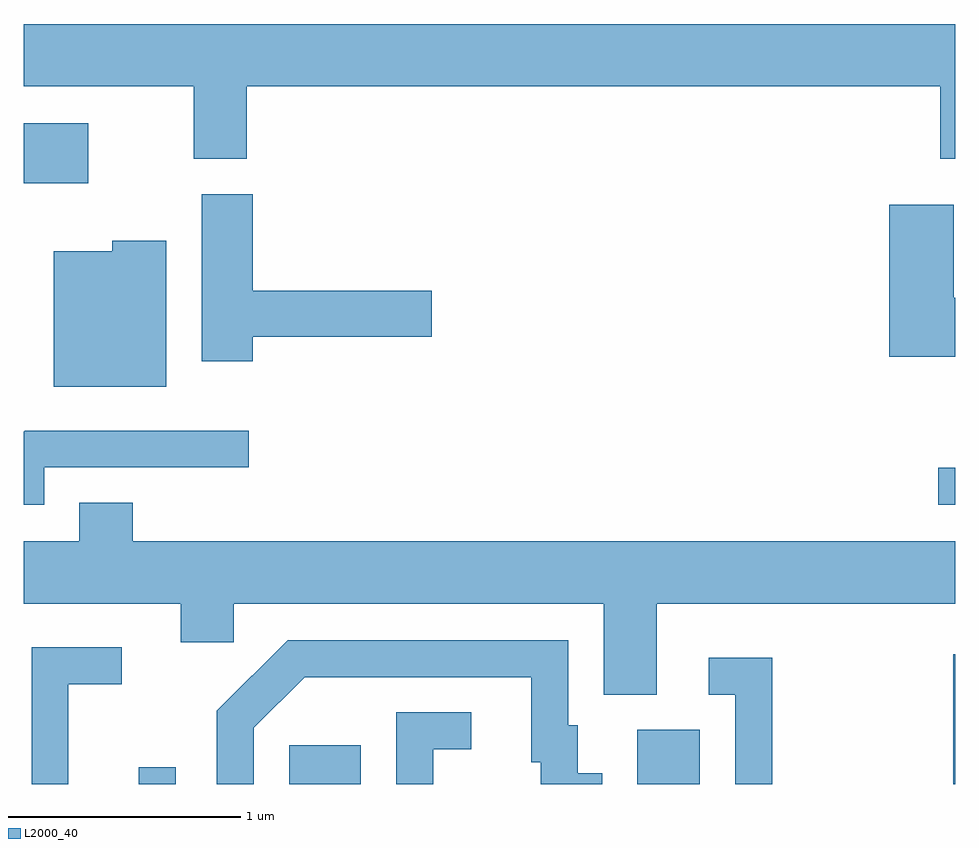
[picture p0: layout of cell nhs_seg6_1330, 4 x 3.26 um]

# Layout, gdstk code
import gdstk
lib = gdstk.Library(unit=1e-6, precision=1e-09)
def R(c, l, rs):  # rectangles x0, y0, x1, y1
    for r in rs: c.add(gdstk.rectangle(r[:2], r[2:], *l))
def P(c, l, *ps):  # polygons
    for p in ps: c.add(gdstk.Polygon(p, *l))
L2000_40 = (2000, 40)

nhs_seg6_1330 = lib.new_cell('nhs_seg6_1330')
R(nhs_seg6_1330, L2000_40, [(226.106,1538.162,226.264,1538.233), (226.751,1538.162,227.059,1538.329), (228.246,1538.162,228.514,1538.394), (229.601,1538.162,229.611,1538.718), (229.538,1539.361,229.611,1539.519), (225.611,1540.741,225.889,1540.999)])
P(nhs_seg6_1330, L2000_40, [(226.569,1541.156),(229.546,1541.156),(229.546,1540.846),(229.611,1540.846),(229.611,1541.424),(225.611,1541.424),(225.611,1541.156),(226.341,1541.156),(226.341,1540.846),(226.569,1540.846)],
  [(226.594,1540.081),(227.364,1540.081),(227.364,1540.279),(226.594,1540.279),(226.594,1540.694),(226.376,1540.694),(226.376,1539.976),(226.594,1539.976)],
  [(229.611,1540.249),(229.604,1540.249),(229.604,1540.649),(229.326,1540.649),(229.326,1539.996),(229.611,1539.996)],
  [(226.224,1540.494),(225.991,1540.494),(225.991,1540.449),(225.741,1540.449),(225.741,1539.866),(226.224,1539.866)],
  [(225.699,1539.521),(226.578,1539.521),(226.578,1539.679),(225.617,1539.679),(225.611,1539.673),(225.611,1539.361),(225.699,1539.361)],
  [(228.329,1538.936),(229.611,1538.936),(229.611,1539.204),(226.079,1539.204),(226.079,1539.369),(225.851,1539.369),(225.851,1539.204),(225.611,1539.204),(225.611,1538.936),(226.286,1538.936),(226.286,1538.771),(226.514,1538.771),(226.514,1538.936),(228.101,1538.936),(228.101,1538.546),(228.329,1538.546)],
  [(226.599,1538.404),(226.817,1538.621),(227.791,1538.621),(227.791,1538.256),(227.831,1538.256),(227.831,1538.162),(228.094,1538.162),(228.094,1538.209),(227.989,1538.209),(227.989,1538.414),(227.949,1538.414),(227.949,1538.779),(226.744,1538.779),(226.441,1538.477),(226.441,1538.162),(226.599,1538.162)],
  [(225.804,1538.591),(226.033,1538.591),(226.033,1538.749),(225.646,1538.749),(225.646,1538.162),(225.804,1538.162)],
  [(228.824,1538.704),(228.553,1538.704),(228.553,1538.546),(228.666,1538.546),(228.666,1538.162),(228.824,1538.162)],
  [(227.369,1538.311),(227.533,1538.311),(227.533,1538.469),(227.211,1538.469),(227.211,1538.162),(227.369,1538.162)])

lib.write_gds('nhs_seg6_1330.gds')
